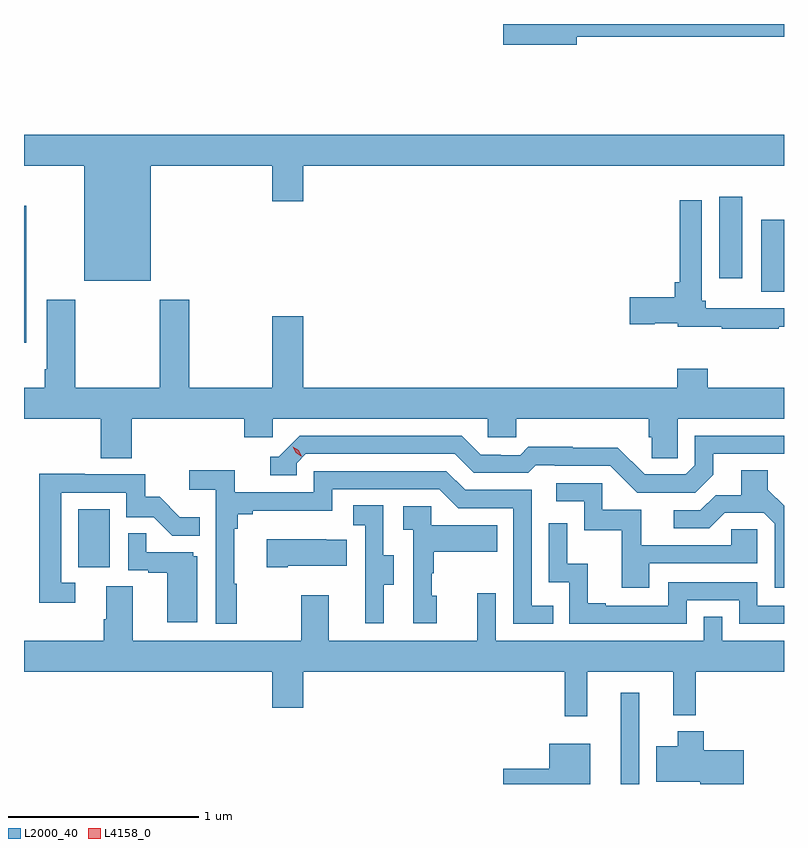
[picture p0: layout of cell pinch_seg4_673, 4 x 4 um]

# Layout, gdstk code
import gdstk
lib = gdstk.Library(unit=1e-6, precision=1e-09)
def R(c, l, rs):  # rectangles x0, y0, x1, y1
    for r in rs: c.add(gdstk.rectangle(r[:2], r[2:], *l))
def P(c, l, *ps):  # polygons
    for p in ps: c.add(gdstk.Polygon(p, *l))
L2000_40 = (2000, 40)
L4158_0 = (4158, 0)

pinch_seg4_673 = lib.new_cell('pinch_seg4_673')
R(pinch_seg4_673, L2000_40, [(1125.884,760.266,1125.981,760.747), (1123.028,761.406,1123.192,761.713), (1122.742,762.588,1122.754,763.309), (1126.622,762.856,1126.742,763.237), (1126.4,762.927,1126.522,763.357)])
P(pinch_seg4_673, L2000_40, [(1125.652,764.2),(1126.742,764.2),(1126.742,764.266),(1125.264,764.266),(1125.264,764.158),(1125.652,764.158)],
  [(1123.408,763.52),(1124.048,763.52),(1124.048,763.332),(1124.212,763.332),(1124.212,763.52),(1126.742,763.52),(1126.742,763.684),(1122.742,763.684),(1122.742,763.52),(1123.058,763.52),(1123.058,762.914),(1123.408,762.914)],
  [(1126.715,762.673),(1126.742,762.673),(1126.742,762.771),(1126.331,762.771),(1126.331,762.81),(1126.308,762.81),(1126.308,763.339),(1126.192,763.339),(1126.192,762.907),(1126.166,762.907),(1126.166,762.827),(1125.93,762.827),(1125.93,762.685),(1126.062,762.685),(1126.062,762.692),(1126.182,762.692),(1126.182,762.673),(1126.414,762.673),(1126.414,762.663),(1126.715,762.663)],
  [(1123.31,762.188),(1123.901,762.188),(1123.901,762.09),(1124.052,762.09),(1124.052,762.188),(1125.183,762.188),(1125.183,762.09),(1125.333,762.09),(1125.333,762.188),(1126.031,762.188),(1126.031,762.09),(1126.045,762.09),(1126.045,761.98),(1126.182,761.98),(1126.182,762.188),(1126.742,762.188),(1126.742,762.352),(1126.341,762.352),(1126.341,762.451),(1126.181,762.451),(1126.181,762.352),(1124.212,762.352),(1124.212,762.727),(1124.048,762.727),(1124.048,762.352),(1123.611,762.352),(1123.611,762.814),(1123.456,762.814),(1123.456,762.352),(1123.011,762.352),(1123.011,762.814),(1122.863,762.814),(1122.863,762.448),(1122.851,762.448),(1122.851,762.352),(1122.742,762.352),(1122.742,762.188),(1123.145,762.188),(1123.145,761.98),(1123.31,761.98)],
  [(1126.369,761.893),(1126.369,762.003),(1126.742,762.003),(1126.742,762.099),(1126.272,762.099),(1126.272,761.943),(1126.224,761.895),(1126.008,761.895),(1125.866,762.037),(1125.63,762.037),(1125.63,762.04),(1125.397,762.04),(1125.355,761.997),(1125.252,761.997),(1125.252,762),(1125.145,762),(1125.046,762.099),(1124.193,762.099),(1124.082,761.988),(1124.039,761.988),(1124.039,761.892),(1124.178,761.892),(1124.178,761.955),(1124.226,762.003),(1125.009,762.003),(1125.108,761.904),(1125.397,761.904),(1125.436,761.943),(1125.535,761.943),(1125.535,761.94),(1125.828,761.94),(1125.969,761.799),(1126.275,761.799)],
  [(1126.742,761.731),(1126.657,761.816),(1126.657,761.918),(1126.517,761.918),(1126.517,761.786),(1126.382,761.786),(1126.302,761.706),(1126.161,761.706),(1126.161,761.613),(1126.348,761.613),(1126.429,761.694),(1126.635,761.694),(1126.692,761.637),(1126.692,761.298),(1126.742,761.298)],
  [(1123.861,761.321),(1123.849,761.321),(1123.849,761.609),(1123.868,761.609),(1123.868,761.686),(1123.945,761.686),(1123.945,761.705),(1124.364,761.705),(1124.364,761.817),(1124.928,761.817),(1125.027,761.718),(1125.318,761.718),(1125.318,761.109),(1125.527,761.109),(1125.527,761.205),(1125.414,761.205),(1125.414,761.814),(1125.064,761.814),(1124.965,761.913),(1124.268,761.913),(1124.268,761.802),(1123.85,761.802),(1123.85,761.918),(1123.611,761.918),(1123.611,761.816),(1123.752,761.816),(1123.752,761.109),(1123.861,761.109)],
  [(1123.012,761.325),(1122.939,761.325),(1122.939,761.799),(1123.281,761.799),(1123.281,761.67),(1123.425,761.67),(1123.523,761.572),(1123.667,761.572),(1123.667,761.671),(1123.563,761.671),(1123.456,761.778),(1123.38,761.778),(1123.38,761.895),(1123.061,761.895),(1123.061,761.9),(1122.823,761.9),(1122.823,761.22),(1123.012,761.22)],
  [(1126.033,761.427),(1126.602,761.427),(1126.602,761.607),(1126.465,761.607),(1126.465,761.523),(1125.991,761.523),(1125.991,761.709),(1125.786,761.709),(1125.786,761.85),(1125.543,761.85),(1125.543,761.754),(1125.69,761.754),(1125.69,761.601),(1125.889,761.601),(1125.889,761.298),(1126.033,761.298)],
  [(1124.635,761.314),(1124.689,761.314),(1124.689,761.469),(1124.634,761.469),(1124.634,761.732),(1124.475,761.732),(1124.475,761.629),(1124.538,761.629),(1124.538,761.325),(1124.537,761.325),(1124.537,761.112),(1124.635,761.112)],
  [(1124.914,761.256),(1124.889,761.256),(1124.889,761.375),(1124.899,761.375),(1124.899,761.489),(1125.233,761.489),(1125.233,761.629),(1124.886,761.629),(1124.886,761.727),(1124.739,761.727),(1124.739,761.603),(1124.79,761.603),(1124.79,761.112),(1124.914,761.112)],
  [(1126.23,761.232),(1126.506,761.232),(1126.506,761.109),(1126.742,761.109),(1126.742,761.205),(1126.602,761.205),(1126.602,761.328),(1126.134,761.328),(1126.134,761.205),(1125.805,761.205),(1125.805,761.218),(1125.71,761.218),(1125.71,761.426),(1125.6,761.426),(1125.6,761.638),(1125.504,761.638),(1125.504,761.328),(1125.612,761.328),(1125.612,761.109),(1126.23,761.109)],
  [(1123.654,761.466),(1123.632,761.466),(1123.632,761.487),(1123.385,761.487),(1123.385,761.585),(1123.29,761.585),(1123.29,761.391),(1123.397,761.391),(1123.397,761.379),(1123.496,761.379),(1123.496,761.118),(1123.654,761.118)],
  [(1124.131,761.414),(1124.441,761.414),(1124.441,761.551),(1124.333,761.551),(1124.333,761.554),(1124.019,761.554),(1124.019,761.407),(1124.131,761.407)],
  [(1125.707,760.856),(1126.16,760.856),(1126.16,760.628),(1126.277,760.628),(1126.277,760.856),(1126.742,760.856),(1126.742,761.02),(1126.416,761.02),(1126.416,761.147),(1126.32,761.147),(1126.32,761.02),(1125.225,761.02),(1125.225,761.269),(1125.128,761.269),(1125.128,761.02),(1124.347,761.02),(1124.347,761.26),(1124.2,761.26),(1124.2,761.02),(1123.315,761.02),(1123.315,761.306),(1123.175,761.306),(1123.175,761.132),(1123.163,761.132),(1123.163,761.02),(1122.742,761.02),(1122.742,760.856),(1124.048,760.856),(1124.048,760.668),(1124.212,760.668),(1124.212,760.856),(1125.589,760.856),(1125.589,760.623),(1125.707,760.623)],
  [(1126.531,760.443),(1126.319,760.443),(1126.319,760.543),(1126.184,760.543),(1126.184,760.465),(1126.07,760.465),(1126.07,760.277),(1126.302,760.277),(1126.302,760.266),(1126.531,760.266)],
  [(1125.721,760.477),(1125.506,760.477),(1125.506,760.346),(1125.264,760.346),(1125.264,760.266),(1125.721,760.266)])
P(pinch_seg4_673, L4158_0, [(1124.202,761.99),(1124.172,762.01),(1124.156,762.042),(1124.156,762.042),(1124.157,762.042),(1124.187,762.023),(1124.203,761.99),(1124.203,761.99)])

lib.write_gds('pinch_seg4_673.gds')
